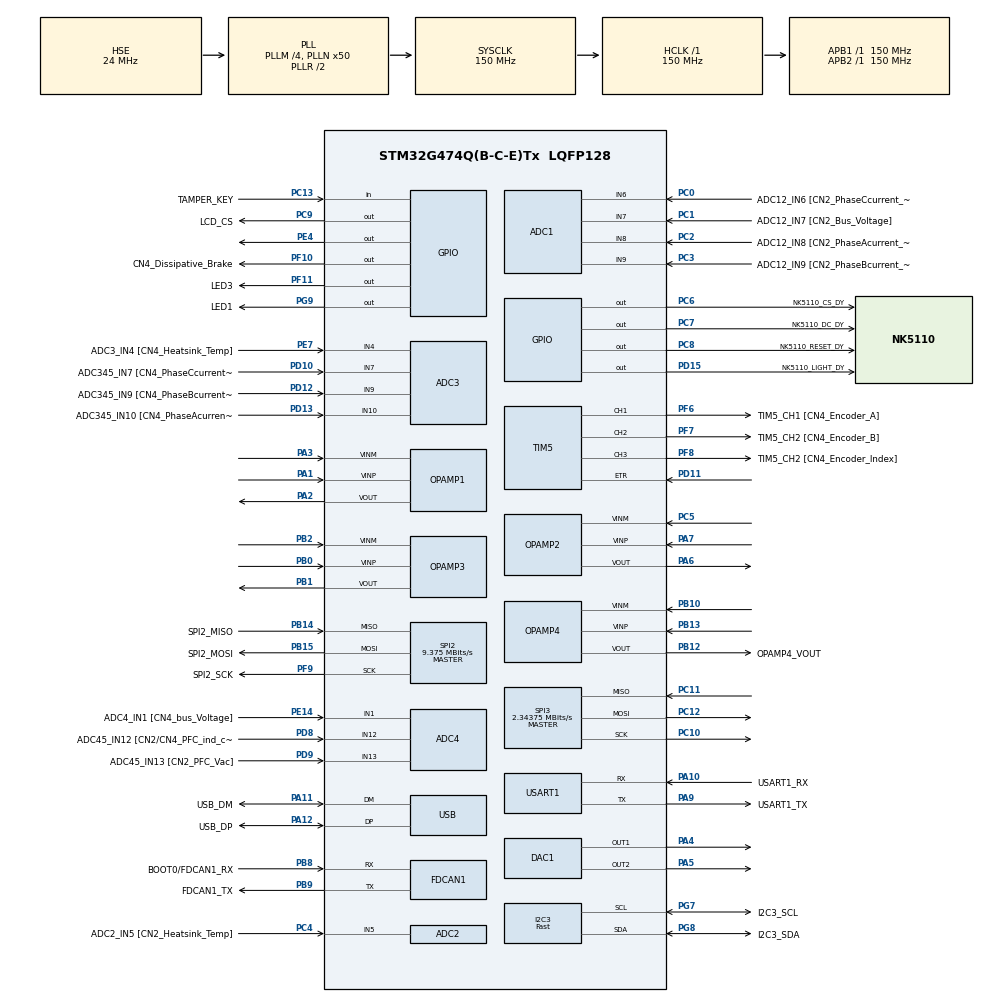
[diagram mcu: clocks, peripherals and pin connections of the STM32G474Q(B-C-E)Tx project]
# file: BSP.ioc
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ADC1.Channel-7\#ChannelRegularConversion=ADC_CHANNEL_7
ADC1.NbrOfConversionFlag=1
ADC1.OffsetNumber-7\#ChannelRegularConversion=ADC_OFFSET_NONE
ADC1.Rank-7\#ChannelRegularConversion=1
ADC1.SamplingTime-7\#ChannelRegularConversion=ADC_SAMPLETIME_2CYCLES_5
ADC1.master=1
ADC2.Channel-0\#ChannelRegularConversion=ADC_CHANNEL_5
ADC2.NbrOfConversionFlag=1
ADC2.OffsetNumber-0\#ChannelRegularConversion=ADC_OFFSET_NONE
ADC2.Rank-0\#ChannelRegularConversion=1
ADC2.SamplingTime-0\#ChannelRegularConversion=ADC_SAMPLETIME_2CYCLES_5
ADC3.Channel-0\#ChannelRegularConversion=ADC_CHANNEL_9
ADC3.NbrOfConversionFlag=1
ADC3.OffsetNumber-0\#ChannelRegularConversion=ADC_OFFSET_NONE
ADC3.Rank-0\#ChannelRegularConversion=1
ADC3.SamplingTime-0\#ChannelRegularConversion=ADC_SAMPLETIME_2CYCLES_5
ADC3.master=1
ADC4.Channel-0\#ChannelRegularConversion=ADC_CHANNEL_12
ADC4.NbrOfConversionFlag=1
ADC4.OffsetNumber-0\#ChannelRegularConversion=ADC_OFFSET_NONE
ADC4.Rank-0\#ChannelRegularConversion=1
ADC4.SamplingTime-0\#ChannelRegularConversion=ADC_SAMPLETIME_2CYCLES_5
DAC1.DAC_Channel-DAC_OUT2=DAC_CHANNEL_2
I2C3.I2C_Speed_Mode=I2C_Fast
I2C3.Speed=400
I2C3.Timing=0x00E063FF
Mcu.Family=STM32G4
Mcu.Name=STM32G474Q(B-C-E)Tx
Mcu.Package=LQFP128
NVIC.PriorityGroup=NVIC_PRIORITYGROUP_4
PA1.Mode=Standalone
PA1.Signal=OPAMP1_VINP
PA10.GPIO_Label=USART1_RX
PA10.Mode=Asynchronous
PA10.Signal=USART1_RX
PA11.GPIO_Label=USB_DM
PA11.Mode=Device
PA11.Signal=USB_DM
PA12.GPIO_Label=USB_DP
PA12.Mode=Device
PA12.Signal=USB_DP
PA13.GPIO_Label=JTMS-SWDIO
PA13.Mode=JTAG_5_pins
PA13.Signal=SYS_JTMS-SWDIO
PA14.GPIO_Label=JTCK-SWCLK
PA14.Mode=JTAG_5_pins
PA14.Signal=SYS_JTCK-SWCLK
PA15.Mode=JTAG_5_pins
PA15.Signal=SYS_JTDI
PA2.Mode=Standalone
PA2.Signal=OPAMP1_VOUT
PA3.Mode=Standalone
PA3.Signal=OPAMP1_VINM
PA4.Signal=COMP_DAC11_group
PA5.Signal=COMP_DAC12_group
PA6.Mode=Standalone
PA6.Signal=OPAMP2_VOUT
PA7.Mode=Standalone
PA7.Signal=OPAMP2_VINP
PA9.GPIO_Label=USART1_TX
PA9.Mode=Asynchronous
PA9.Signal=USART1_TX
PB0.Mode=Standalone
PB0.Signal=OPAMP3_VINP
PB1.Mode=Standalone
PB1.Signal=OPAMP3_VOUT
PB10.Mode=Standalone
PB10.Signal=OPAMP4_VINM
PB12.GPIO_Label=OPAMP4_VOUT
PB12.Mode=Standalone
PB12.Signal=OPAMP4_VOUT
PB13.Mode=Standalone
PB13.Signal=OPAMP4_VINP
PB14.GPIO_Label=SPI2_MISO
PB14.Mode=Full_Duplex_Master
PB14.Signal=SPI2_MISO
PB15.GPIO_Label=SPI2_MOSI
PB15.Mode=Full_Duplex_Master
PB15.Signal=SPI2_MOSI
PB2.Mode=Standalone
PB2.Signal=OPAMP3_VINM
PB3.GPIO_Label=JTDO-SWO
PB3.Mode=JTAG_5_pins
PB3.Signal=SYS_JTDO-SWO
PB4.GPIO_Label=JTRST/PD_CC2
PB4.Mode=JTAG_5_pins
PB4.Signal=SYS_JTRST
PB8-BOOT0.GPIO_Label=BOOT0/FDCAN1_RX
PB8-BOOT0.Mode=FDCAN_Activate
PB8-BOOT0.Signal=FDCAN1_RX
PB9.GPIO_Label=FDCAN1_TX
PB9.Mode=FDCAN_Activate
PB9.Signal=FDCAN1_TX
PC0.GPIO_Label=ADC12_IN6 [CN2_PhaseCcurrent_plus]
PC0.Signal=SharedAnalog_PC0
PC1.GPIO_Label=ADC12_IN7 [CN2_Bus_Voltage]
PC1.Signal=SharedAnalog_PC1
PC10.Mode=Full_Duplex_Master
PC10.Signal=SPI3_SCK
PC11.Mode=Full_Duplex_Master
PC11.Signal=SPI3_MISO
PC12.Mode=Full_Duplex_Master
PC12.Signal=SPI3_MOSI
PC13.GPIO_Label=TAMPER_KEY
PC13.Signal=GPIO_Input
PC14-OSC32_IN.GPIO_Label=PC14-OSC32_IN
PC14-OSC32_IN.Mode=LSE-External-Oscillator
PC14-OSC32_IN.Signal=RCC_OSC32_IN
PC15-OSC32_OUT.GPIO_Label=PC15-OSC32_OUT
PC15-OSC32_OUT.Mode=LSE-External-Oscillator
PC15-OSC32_OUT.Signal=RCC_OSC32_OUT
PC2.GPIO_Label=ADC12_IN8 [CN2_PhaseAcurrent_plus]
PC2.Signal=SharedAnalog_PC2
PC3.GPIO_Label=ADC12_IN9 [CN2_PhaseBcurrent_plus]
PC3.Signal=SharedAnalog_PC3
PC4.GPIO_Label=ADC2_IN5 [CN2_Heatsink_Temp]
PC4.Mode=IN5-Single-Ended
PC4.Signal=ADC2_IN5
PC5.Mode=Standalone
PC5.Signal=OPAMP2_VINM
PC6.GPIO_Label=NK5110_CS_DY
PC6.Signal=GPIO_Output
PC7.GPIO_Label=NK5110_DC_DY
PC7.Signal=GPIO_Output
PC8.GPIO_Label=NK5110_RESET_DY
PC8.Signal=GPIO_Output
PC9.GPIO_Label=LCD_CS
PC9.Signal=GPIO_Output
PD10.GPIO_Label=ADC345_IN7 [CN4_PhaseCcurrent_plus]
PD10.Signal=SharedAnalog_PD10
PD11.Signal=S_TIM5_ETR
PD12.GPIO_Label=ADC345_IN9 [CN4_PhaseBcurrent_plus]
PD12.Signal=SharedAnalog_PD12
PD13.GPIO_Label=ADC345_IN10 [CN4_PhaseAcurrent_plus]
PD13.Signal=SharedAnalog_PD13
PD15.GPIO_Label=NK5110_LIGHT_DY
PD15.Signal=GPIO_Output
PD8.GPIO_Label=ADC45_IN12 [CN2/CN4_PFC_ind_current]
PD8.Signal=SharedAnalog_PD8
PD9.GPIO_Label=ADC45_IN13 [CN2_PFC_Vac]
PD9.Signal=SharedAnalog_PD9
PE14.GPIO_Label=ADC4_IN1 [CN4_bus_Voltage]
PE14.Mode=IN1-Single-Ended
PE14.Signal=ADC4_IN1
PE4.Signal=GPIO_Output
PE7.GPIO_Label=ADC3_IN4 [CN4_Heatsink_Temp]
PE7.Mode=IN4-Single-Ended
PE7.Signal=ADC3_IN4
PF0-OSC_IN.GPIO_Label=PF0-OSC_IN
PF0-OSC_IN.Mode=HSE-External-Oscillator
PF0-OSC_IN.Signal=RCC_OSC_IN
PF1-OSC_OUT.GPIO_Label=PF1-OSC_OUT
PF1-OSC_OUT.Mode=HSE-External-Oscillator
PF1-OSC_OUT.Signal=RCC_OSC_OUT
PF10.GPIO_Label=CN4_Dissipative_Brake
PF10.Signal=GPIO_Output
PF11.GPIO_Label=LED3
PF11.Signal=GPIO_Output
PF6.GPIO_Label=TIM5_CH1 [CN4_Encoder_A]
PF6.Signal=S_TIM5_CH1
PF7.GPIO_Label=TIM5_CH2 [CN4_Encoder_B]
PF7.Signal=S_TIM5_CH2
PF8.GPIO_Label=TIM5_CH2 [CN4_Encoder_Index]
PF8.Signal=S_TIM5_CH3
PF9.GPIO_Label=SPI2_SCK
PF9.Mode=Full_Duplex_Master
PF9.Signal=SPI2_SCK
PG7.GPIO_Label=I2C3_SCL
PG7.GPIO_Pu=GPIO_PULLUP
PG7.Mode=I2C
PG7.Signal=I2C3_SCL
PG8.GPIO_Label=I2C3_SDA
PG8.GPIO_Pu=GPIO_PULLUP
PG8.Mode=I2C
PG8.Signal=I2C3_SDA
PG9.GPIO_Label=LED1
PG9.Signal=GPIO_Output
ProjectManager.HeapSize=0x200
ProjectManager.StackSize=0x400
ProjectManager.TargetToolchain=STM32CubeIDE
RCC.ADC12Freq_Value=150000000
RCC.ADC345Freq_Value=150000000
RCC.AHBFreq_Value=150000000
RCC.APB1Freq_Value=150000000
RCC.APB1TimFreq_Value=150000000
RCC.APB2Freq_Value=150000000
RCC.APB2TimFreq_Value=150000000
RCC.CK48CLockSelection=RCC_USBCLKSOURCE_HSI48
RCC.CortexFreq_Value=150000000
RCC.EXTERNAL_CLOCK_VALUE=12288000
RCC.HCLKFreq_Value=150000000
RCC.HSE_VALUE=24000000
RCC.HSI48_VALUE=48000000
RCC.HSI_VALUE=16000000
RCC.PLLM=RCC_PLLM_DIV4
RCC.PLLN=50
RCC.PLLSourceVirtual=RCC_PLLSOURCE_HSE
RCC.SYSCLKFreq_VALUE=150000000
RCC.SYSCLKSource=RCC_SYSCLKSOURCE_PLLCLK
RCC.USBFreq_Value=48000000
RCC.VCOOutputFreq_Value=300000000
SH.COMP_DAC11_group.0=DAC1_OUT1,DAC_OUT1
SH.COMP_DAC12_group.0=DAC1_OUT2,DAC_OUT2
SH.S_TIM5_CH1.0=TIM5_CH1,Output Compare1 CH1
SH.S_TIM5_CH2.0=TIM5_CH2,Output Compare2 CH2
SH.S_TIM5_CH3.0=TIM5_CH3,Output Compare3 CH3
SH.S_TIM5_ETR.0=TIM5_ETR,ETR-as-clearing-source
SH.SharedAnalog_PC0.0=ADC2_IN6
SH.SharedAnalog_PC0.1=ADC1_IN6,IN6-Single-Ended
SH.SharedAnalog_PC1.0=ADC2_IN7
SH.SharedAnalog_PC1.1=ADC1_IN7,IN7-Single-Ended
SH.SharedAnalog_PC2.0=ADC2_IN8
SH.SharedAnalog_PC2.1=ADC1_IN8,IN8-Single-Ended
SH.SharedAnalog_PC3.0=ADC2_IN9
SH.SharedAnalog_PC3.1=ADC1_IN9,IN9-Single-Ended
SH.SharedAnalog_PD10.0=ADC4_IN7
SH.SharedAnalog_PD10.1=ADC5_IN7
SH.SharedAnalog_PD10.2=ADC3_IN7,IN7-Single-Ended
SH.SharedAnalog_PD12.0=ADC4_IN9
SH.SharedAnalog_PD12.1=ADC5_IN9
SH.SharedAnalog_PD12.2=ADC3_IN9,IN9-Single-Ended
SH.SharedAnalog_PD13.0=ADC4_IN10
SH.SharedAnalog_PD13.1=ADC5_IN10
SH.SharedAnalog_PD13.2=ADC3_IN10,IN10-Single-Ended
SH.SharedAnalog_PD8.0=ADC5_IN12
SH.SharedAnalog_PD8.1=ADC4_IN12,IN12-Single-Ended
SH.SharedAnalog_PD9.0=ADC5_IN13
SH.SharedAnalog_PD9.1=ADC4_IN13,IN13-Single-Ended
SPI2.BaudRatePrescaler=SPI_BAUDRATEPRESCALER_16
SPI2.CalculateBaudRate=9.375 MBits/s
SPI2.Direction=SPI_DIRECTION_2LINES
SPI2.Mode=SPI_MODE_MASTER
SPI2.VirtualType=VM_MASTER
SPI3.BaudRatePrescaler=SPI_BAUDRATEPRESCALER_64
SPI3.CalculateBaudRate=2.34375 MBits/s
SPI3.DataSize=SPI_DATASIZE_8BIT
SPI3.Direction=SPI_DIRECTION_2LINES
SPI3.Mode=SPI_MODE_MASTER
SPI3.VirtualType=VM_MASTER
TIM5.Channel-Output\ Compare1\ CH1=TIM_CHANNEL_1
TIM5.Channel-Output\ Compare2\ CH2=TIM_CHANNEL_2
TIM5.Channel-Output\ Compare3\ CH3=TIM_CHANNEL_3
USART1.VirtualMode-Asynchronous=VM_ASYNC
USART1.WordLength=WORDLENGTH_7B
VP_HRTIM1_VS_hrtimMasterTimerNoOutput.Mode=MasterTimer
VP_SYS_VS_DBSignals.Mode=DisableDeadBatterySignals
board=STM32G474E-EVAL1

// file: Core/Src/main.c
/* USER CODE BEGIN Header */
/**
  ******************************************************************************
  * @file           : main.c
  * @brief          : Main program body
  ******************************************************************************
  * @attention
  *
  * <h2><center>&copy; Copyright (c) 2021 STMicroelectronics.
  * All rights reserved.</center></h2>
  *
  * This software component is licensed by ST under BSD 3-Clause license,
  * the "License"; You may not use this file except in compliance with the
  * License. You may obtain a copy of the License at:
  *                        opensource.org/licenses/BSD-3-Clause
  *
  ******************************************************************************
  */
  /*Proyecto de libreria de controladores graficos pequeños con Frame Buffer    */

/* USER CODE END Header */
#include "main.h"

/* USER CODE BEGIN Includes */
//#include "display.h"

#include <stdio.h>
#include "..\Drivers\Common\Inc\Display.h"
#include "ssd1306.h"

extern int PruebaDY(void);
extern void refesh_count(void);

/* USER CODE END Includes */

ADC_HandleTypeDef hadc1;
ADC_HandleTypeDef hadc2;
ADC_HandleTypeDef hadc3;
ADC_HandleTypeDef hadc4;

DAC_HandleTypeDef hdac1;

FDCAN_HandleTypeDef hfdcan1;

HRTIM_HandleTypeDef hhrtim1;

I2C_HandleTypeDef hi2c3;

OPAMP_HandleTypeDef hopamp1;
OPAMP_HandleTypeDef hopamp2;
OPAMP_HandleTypeDef hopamp3;
OPAMP_HandleTypeDef hopamp4;

SPI_HandleTypeDef hspi2;
SPI_HandleTypeDef hspi3;

TIM_HandleTypeDef htim5;

UART_HandleTypeDef huart1;

PCD_HandleTypeDef hpcd_USB_FS;

void SystemClock_Config(void);
static void MX_GPIO_Init(void);
static void MX_ADC1_Init(void);
static void MX_ADC2_Init(void);
static void MX_ADC3_Init(void);
static void MX_ADC4_Init(void);
static void MX_DAC1_Init(void);
static void MX_FDCAN1_Init(void);
static void MX_HRTIM1_Init(void);
static void MX_I2C3_Init(void);
static void MX_OPAMP1_Init(void);
static void MX_OPAMP2_Init(void);
static void MX_OPAMP3_Init(void);
static void MX_OPAMP4_Init(void);
static void MX_SPI2_Init(void);
static void MX_TIM5_Init(void);
static void MX_USART1_UART_Init(void);
static void MX_USB_PCD_Init(void);
static void MX_SPI3_Init(void);

int main(void)
{
  /* USER CODE BEGIN 1 */
	//int i;
	DY_Ift_t DY1;
	DY_Ift_t DY2;
  /* USER CODE END 1 */

  /* MCU Configuration--------------------------------------------------------*/

  /* Reset of all peripherals, Initializes the Flash interface and the Systick. */
  HAL_Init();

  /* Configure the system clock */
  SystemClock_Config();

  /* Initialize all configured peripherals */
  MX_GPIO_Init();
  MX_ADC1_Init();
  MX_ADC2_Init();
  MX_ADC3_Init();
  MX_ADC4_Init();
  MX_DAC1_Init();
  MX_FDCAN1_Init();
  MX_HRTIM1_Init();
  MX_I2C3_Init();
  MX_OPAMP1_Init();
  MX_OPAMP2_Init();
  MX_OPAMP3_Init();
  MX_OPAMP4_Init();
  MX_SPI2_Init();
  MX_TIM5_Init();
  MX_USART1_UART_Init();
  MX_USB_PCD_Init();
  MX_SPI3_Init();
  /* USER CODE BEGIN 2 */
  InitFonts();
  DY1=sh1106_itf;
  DY2=nk5110_itf;
  DY1.init();
  DY1.clear_screen();
  DY2.init();
  DY2.clear_screen();

  __enable_irq();

  DY1.Refresh_all();
  DY2.Refresh_all();

  PruebaDY();
  /* USER CODE END 2 */

  /* Infinite loop */
  while (1)
  {

    /* USER CODE BEGIN 3 */
	  refesh_count();
	  HAL_Delay(10);
  }
  /* USER CODE END 3 */
}

void SystemClock_Config(void)
{
  RCC_OscInitTypeDef RCC_OscInitStruct = {0};
  RCC_ClkInitTypeDef RCC_ClkInitStruct = {0};

  /** Configure the main internal regulator output voltage
  */
  HAL_PWREx_ControlVoltageScaling(PWR_REGULATOR_VOLTAGE_SCALE1);
  /** Initializes the RCC Oscillators according to the specified parameters
  * in the RCC_OscInitTypeDef structure.
  */
  RCC_OscInitStruct.OscillatorType = RCC_OSCILLATORTYPE_HSI48|RCC_OSCILLATORTYPE_HSE;
  RCC_OscInitStruct.HSEState = RCC_HSE_ON;
  RCC_OscInitStruct.HSI48State = RCC_HSI48_ON;
  RCC_OscInitStruct.PLL.PLLState = RCC_PLL_ON;
  RCC_OscInitStruct.PLL.PLLSource = RCC_PLLSOURCE_HSE;
  RCC_OscInitStruct.PLL.PLLM = RCC_PLLM_DIV4;
  RCC_OscInitStruct.PLL.PLLN = 50;
  RCC_OscInitStruct.PLL.PLLP = RCC_PLLP_DIV2;
  RCC_OscInitStruct.PLL.PLLQ = RCC_PLLQ_DIV2;
  RCC_OscInitStruct.PLL.PLLR = RCC_PLLR_DIV2;
  if (HAL_RCC_OscConfig(&RCC_OscInitStruct) != HAL_OK)
  {
    Error_Handler();
  }
  /** Initializes the CPU, AHB and APB buses clocks
  */
  RCC_ClkInitStruct.ClockType = RCC_CLOCKTYPE_HCLK|RCC_CLOCKTYPE_SYSCLK
                              |RCC_CLOCKTYPE_PCLK1|RCC_CLOCKTYPE_PCLK2;
  RCC_ClkInitStruct.SYSCLKSource = RCC_SYSCLKSOURCE_PLLCLK;
  RCC_ClkInitStruct.AHBCLKDivider = RCC_SYSCLK_DIV1;
  RCC_ClkInitStruct.APB1CLKDivider = RCC_HCLK_DIV1;
  RCC_ClkInitStruct.APB2CLKDivider = RCC_HCLK_DIV1;

  if (HAL_RCC_ClockConfig(&RCC_ClkInitStruct, FLASH_LATENCY_4) != HAL_OK)
  {
    Error_Handler();
  }
}

static void MX_ADC1_Init(void)
{

  ADC_MultiModeTypeDef multimode = {0};
  ADC_ChannelConfTypeDef sConfig = {0};

  /** Common config
  */
  hadc1.Instance = ADC1;
  hadc1.Init.ClockPrescaler = ADC_CLOCK_SYNC_PCLK_DIV4;
  hadc1.Init.Resolution = ADC_RESOLUTION_12B;
  hadc1.Init.DataAlign = ADC_DATAALIGN_RIGHT;
  hadc1.Init.GainCompensation = 0;
  hadc1.Init.ScanConvMode = ADC_SCAN_DISABLE;
  hadc1.Init.EOCSelection = ADC_EOC_SINGLE_CONV;
  hadc1.Init.LowPowerAutoWait = DISABLE;
  hadc1.Init.ContinuousConvMode = DISABLE;
  hadc1.Init.NbrOfConversion = 1;
  hadc1.Init.DiscontinuousConvMode = DISABLE;
  hadc1.Init.ExternalTrigConv = ADC_SOFTWARE_START;
  hadc1.Init.ExternalTrigConvEdge = ADC_EXTERNALTRIGCONVEDGE_NONE;
  hadc1.Init.DMAContinuousRequests = DISABLE;
  hadc1.Init.Overrun = ADC_OVR_DATA_PRESERVED;
  hadc1.Init.OversamplingMode = DISABLE;
  if (HAL_ADC_Init(&hadc1) != HAL_OK)
  {
    Error_Handler();
  }
  /** Configure the ADC multi-mode
  */
  multimode.Mode = ADC_MODE_INDEPENDENT;
  if (HAL_ADCEx_MultiModeConfigChannel(&hadc1, &multimode) != HAL_OK)
  {
    Error_Handler();
  }
  /** Configure Regular Channel
  */
  sConfig.Channel = ADC_CHANNEL_7;
  sConfig.Rank = ADC_REGULAR_RANK_1;
  sConfig.SamplingTime = ADC_SAMPLETIME_2CYCLES_5;
  sConfig.SingleDiff = ADC_SINGLE_ENDED;
  sConfig.OffsetNumber = ADC_OFFSET_NONE;
  sConfig.Offset = 0;
  if (HAL_ADC_ConfigChannel(&hadc1, &sConfig) != HAL_OK)
  {
    Error_Handler();
  }

}

static void MX_ADC2_Init(void)
{

  ADC_ChannelConfTypeDef sConfig = {0};

  /** Common config
  */
  hadc2.Instance = ADC2;
  hadc2.Init.ClockPrescaler = ADC_CLOCK_SYNC_PCLK_DIV4;
  hadc2.Init.Resolution = ADC_RESOLUTION_12B;
  hadc2.Init.DataAlign = ADC_DATAALIGN_RIGHT;
  hadc2.Init.GainCompensation = 0;
  hadc2.Init.ScanConvMode = ADC_SCAN_DISABLE;
  hadc2.Init.EOCSelection = ADC_EOC_SINGLE_CONV;
  hadc2.Init.LowPowerAutoWait = DISABLE;
  hadc2.Init.ContinuousConvMode = DISABLE;
  hadc2.Init.NbrOfConversion = 1;
  hadc2.Init.DiscontinuousConvMode = DISABLE;
  hadc2.Init.ExternalTrigConv = ADC_SOFTWARE_START;
  hadc2.Init.ExternalTrigConvEdge = ADC_EXTERNALTRIGCONVEDGE_NONE;
  hadc2.Init.DMAContinuousRequests = DISABLE;
  hadc2.Init.Overrun = ADC_OVR_DATA_PRESERVED;
  hadc2.Init.OversamplingMode = DISABLE;
  if (HAL_ADC_Init(&hadc2) != HAL_OK)
  {
    Error_Handler();
  }
  /** Configure Regular Channel
  */
  sConfig.Channel = ADC_CHANNEL_5;
  sConfig.Rank = ADC_REGULAR_RANK_1;
  sConfig.SamplingTime = ADC_SAMPLETIME_2CYCLES_5;
  sConfig.SingleDiff = ADC_SINGLE_ENDED;
  sConfig.OffsetNumber = ADC_OFFSET_NONE;
  sConfig.Offset = 0;
  if (HAL_ADC_ConfigChannel(&hadc2, &sConfig) != HAL_OK)
  {
    Error_Handler();
  }

}

static void MX_ADC3_Init(void)
{

  ADC_MultiModeTypeDef multimode = {0};
  ADC_ChannelConfTypeDef sConfig = {0};

  /** Common config
  */
  hadc3.Instance = ADC3;
  hadc3.Init.ClockPrescaler = ADC_CLOCK_SYNC_PCLK_DIV4;
  hadc3.Init.Resolution = ADC_RESOLUTION_12B;
  hadc3.Init.DataAlign = ADC_DATAALIGN_RIGHT;
  hadc3.Init.GainCompensation = 0;
  hadc3.Init.ScanConvMode = ADC_SCAN_DISABLE;
  hadc3.Init.EOCSelection = ADC_EOC_SINGLE_CONV;
  hadc3.Init.LowPowerAutoWait = DISABLE;
  hadc3.Init.ContinuousConvMode = DISABLE;
  hadc3.Init.NbrOfConversion = 1;
  hadc3.Init.DiscontinuousConvMode = DISABLE;
  hadc3.Init.ExternalTrigConv = ADC_SOFTWARE_START;
  hadc3.Init.ExternalTrigConvEdge = ADC_EXTERNALTRIGCONVEDGE_NONE;
  hadc3.Init.DMAContinuousRequests = DISABLE;
  hadc3.Init.Overrun = ADC_OVR_DATA_PRESERVED;
  hadc3.Init.OversamplingMode = DISABLE;
  if (HAL_ADC_Init(&hadc3) != HAL_OK)
  {
    Error_Handler();
  }
  /** Configure the ADC multi-mode
  */
  multimode.Mode = ADC_MODE_INDEPENDENT;
  if (HAL_ADCEx_MultiModeConfigChannel(&hadc3, &multimode) != HAL_OK)
  {
    Error_Handler();
  }
  /** Configure Regular Channel
  */
  sConfig.Channel = ADC_CHANNEL_9;
  sConfig.Rank = ADC_REGULAR_RANK_1;
  sConfig.SamplingTime = ADC_SAMPLETIME_2CYCLES_5;
  sConfig.SingleDiff = ADC_SINGLE_ENDED;
  sConfig.OffsetNumber = ADC_OFFSET_NONE;
  sConfig.Offset = 0;
  if (HAL_ADC_ConfigChannel(&hadc3, &sConfig) != HAL_OK)
  {
    Error_Handler();
  }

}

static void MX_ADC4_Init(void)
{

  ADC_ChannelConfTypeDef sConfig = {0};

  /** Common config
  */
  hadc4.Instance = ADC4;
  hadc4.Init.ClockPrescaler = ADC_CLOCK_SYNC_PCLK_DIV4;
  hadc4.Init.Resolution = ADC_RESOLUTION_12B;
  hadc4.Init.DataAlign = ADC_DATAALIGN_RIGHT;
  hadc4.Init.GainCompensation = 0;
  hadc4.Init.ScanConvMode = ADC_SCAN_DISABLE;
  hadc4.Init.EOCSelection = ADC_EOC_SINGLE_CONV;
  hadc4.Init.LowPowerAutoWait = DISABLE;
  hadc4.Init.ContinuousConvMode = DISABLE;
  hadc4.Init.NbrOfConversion = 1;
  hadc4.Init.DiscontinuousConvMode = DISABLE;
  hadc4.Init.ExternalTrigConv = ADC_SOFTWARE_START;
  hadc4.Init.ExternalTrigConvEdge = ADC_EXTERNALTRIGCONVEDGE_NONE;
  hadc4.Init.DMAContinuousRequests = DISABLE;
  hadc4.Init.Overrun = ADC_OVR_DATA_PRESERVED;
  hadc4.Init.OversamplingMode = DISABLE;
  if (HAL_ADC_Init(&hadc4) != HAL_OK)
  {
    Error_Handler();
  }
  /** Configure Regular Channel
  */
  sConfig.Channel = ADC_CHANNEL_12;
  sConfig.Rank = ADC_REGULAR_RANK_1;
  sConfig.SamplingTime = ADC_SAMPLETIME_2CYCLES_5;
  sConfig.SingleDiff = ADC_SINGLE_ENDED;
  sConfig.OffsetNumber = ADC_OFFSET_NONE;
  sConfig.Offset = 0;
  if (HAL_ADC_ConfigChannel(&hadc4, &sConfig) != HAL_OK)
  {
    Error_Handler();
  }

}

static void MX_DAC1_Init(void)
{

  DAC_ChannelConfTypeDef sConfig = {0};

  /** DAC Initialization
  */
  hdac1.Instance = DAC1;
  if (HAL_DAC_Init(&hdac1) != HAL_OK)
  {
    Error_Handler();
  }
  /** DAC channel OUT1 config
  */
  sConfig.DAC_HighFrequency = DAC_HIGH_FREQUENCY_INTERFACE_MODE_AUTOMATIC;
  sConfig.DAC_DMADoubleDataMode = DISABLE;
  sConfig.DAC_SignedFormat = DISABLE;
  sConfig.DAC_SampleAndHold = DAC_SAMPLEANDHOLD_DISABLE;
  sConfig.DAC_Trigger = DAC_TRIGGER_NONE;
  sConfig.DAC_Trigger2 = DAC_TRIGGER_NONE;
  sConfig.DAC_OutputBuffer = DAC_OUTPUTBUFFER_ENABLE;
  sConfig.DAC_ConnectOnChipPeripheral = DAC_CHIPCONNECT_EXTERNAL;
  sConfig.DAC_UserTrimming = DAC_TRIMMING_FACTORY;
  if (HAL_DAC_ConfigChannel(&hdac1, &sConfig, DAC_CHANNEL_1) != HAL_OK)
  {
    Error_Handler();
  }
  /** DAC channel OUT2 config
  */
  if (HAL_DAC_ConfigChannel(&hdac1, &sConfig, DAC_CHANNEL_2) != HAL_OK)
  {
    Error_Handler();
  }

}

static void MX_FDCAN1_Init(void)
{

  hfdcan1.Instance = FDCAN1;
  hfdcan1.Init.ClockDivider = FDCAN_CLOCK_DIV1;
  hfdcan1.Init.FrameFormat = FDCAN_FRAME_CLASSIC;
  hfdcan1.Init.Mode = FDCAN_MODE_NORMAL;
  hfdcan1.Init.AutoRetransmission = DISABLE;
  hfdcan1.Init.TransmitPause = DISABLE;
  hfdcan1.Init.ProtocolException = DISABLE;
  hfdcan1.Init.NominalPrescaler = 1;
  hfdcan1.Init.NominalSyncJumpWidth = 1;
  hfdcan1.Init.NominalTimeSeg1 = 2;
  hfdcan1.Init.NominalTimeSeg2 = 2;
  hfdcan1.Init.DataPrescaler = 1;
  hfdcan1.Init.DataSyncJumpWidth = 1;
  hfdcan1.Init.DataTimeSeg1 = 1;
  hfdcan1.Init.DataTimeSeg2 = 1;
  hfdcan1.Init.StdFiltersNbr = 0;
  hfdcan1.Init.ExtFiltersNbr = 0;
  hfdcan1.Init.TxFifoQueueMode = FDCAN_TX_FIFO_OPERATION;
  if (HAL_FDCAN_Init(&hfdcan1) != HAL_OK)
  {
    Error_Handler();
  }

}

static void MX_HRTIM1_Init(void)
{

  HRTIM_TimeBaseCfgTypeDef pTimeBaseCfg = {0};
  HRTIM_TimerCfgTypeDef pTimerCfg = {0};

  hhrtim1.Instance = HRTIM1;
  hhrtim1.Init.HRTIMInterruptResquests = HRTIM_IT_NONE;
  hhrtim1.Init.SyncOptions = HRTIM_SYNCOPTION_NONE;
  if (HAL_HRTIM_Init(&hhrtim1) != HAL_OK)
  {
    Error_Handler();
  }
  if (HAL_HRTIM_DLLCalibrationStart(&hhrtim1, HRTIM_CALIBRATIONRATE_3) != HAL_OK)
  {
    Error_Handler();
  }
  if (HAL_HRTIM_PollForDLLCalibration(&hhrtim1, 10) != HAL_OK)
  {
    Error_Handler();
  }
  pTimeBaseCfg.Period = 0xFFDF;
  pTimeBaseCfg.RepetitionCounter = 0x00;
  pTimeBaseCfg.PrescalerRatio = HRTIM_PRESCALERRATIO_MUL32;
  pTimeBaseCfg.Mode = HRTIM_MODE_CONTINUOUS;
  if (HAL_HRTIM_TimeBaseConfig(&hhrtim1, HRTIM_TIMERINDEX_MASTER, &pTimeBaseCfg) != HAL_OK)
  {
    Error_Handler();
  }
  pTimerCfg.InterruptRequests = HRTIM_MASTER_IT_NONE;
  pTimerCfg.DMARequests = HRTIM_MASTER_DMA_NONE;
  pTimerCfg.DMASrcAddress = 0x0000;
  pTimerCfg.DMADstAddress = 0x0000;
  pTimerCfg.DMASize = 0x1;
  pTimerCfg.HalfModeEnable = HRTIM_HALFMODE_DISABLED;
  pTimerCfg.InterleavedMode = HRTIM_INTERLEAVED_MODE_DISABLED;
  pTimerCfg.StartOnSync = HRTIM_SYNCSTART_DISABLED;
  pTimerCfg.ResetOnSync = HRTIM_SYNCRESET_DISABLED;
  pTimerCfg.DACSynchro = HRTIM_DACSYNC_NONE;
  pTimerCfg.PreloadEnable = HRTIM_PRELOAD_DISABLED;
  pTimerCfg.UpdateGating = HRTIM_UPDATEGATING_INDEPENDENT;
  pTimerCfg.BurstMode = HRTIM_TIMERBURSTMODE_MAINTAINCLOCK;
  pTimerCfg.RepetitionUpdate = HRTIM_UPDATEONREPETITION_DISABLED;
  pTimerCfg.ReSyncUpdate = HRTIM_TIMERESYNC_UPDATE_UNCONDITIONAL;

  if (HAL_HRTIM_WaveformTimerConfig(&hhrtim1, HRTIM_TIMERINDEX_MASTER, &pTimerCfg) != HAL_OK)
  {
    Error_Handler();
  }

}

static void MX_I2C3_Init(void)
{

  hi2c3.Instance = I2C3;
  hi2c3.Init.Timing = 0x00E063FF;
  hi2c3.Init.OwnAddress1 = 0;
  hi2c3.Init.AddressingMode = I2C_ADDRESSINGMODE_7BIT;
  hi2c3.Init.DualAddressMode = I2C_DUALADDRESS_DISABLE;
  hi2c3.Init.OwnAddress2 = 0;
  hi2c3.Init.OwnAddress2Masks = I2C_OA2_NOMASK;
  hi2c3.Init.GeneralCallMode = I2C_GENERALCALL_DISABLE;
  hi2c3.Init.NoStretchMode = I2C_NOSTRETCH_DISABLE;
  if (HAL_I2C_Init(&hi2c3) != HAL_OK)
  {
    Error_Handler();
  }
  /** Configure Analogue filter
  */
  if (HAL_I2CEx_ConfigAnalogFilter(&hi2c3, I2C_ANALOGFILTER_ENABLE) != HAL_OK)
  {
    Error_Handler();
  }
  /** Configure Digital filter
  */
  if (HAL_I2CEx_ConfigDigitalFilter(&hi2c3, 0) != HAL_OK)
  {
    Error_Handler();
  }

}

static void MX_OPAMP1_Init(void)
{

  hopamp1.Instance = OPAMP1;
  hopamp1.Init.PowerMode = OPAMP_POWERMODE_NORMALSPEED;
  hopamp1.Init.Mode = OPAMP_STANDALONE_MODE;
  hopamp1.Init.InvertingInput = OPAMP_INVERTINGINPUT_IO0;
  hopamp1.Init.NonInvertingInput = OPAMP_NONINVERTINGINPUT_IO0;
  hopamp1.Init.InternalOutput = DISABLE;
  hopamp1.Init.TimerControlledMuxmode = OPAMP_TIMERCONTROLLEDMUXMODE_DISABLE;
  hopamp1.Init.UserTrimming = OPAMP_TRIMMING_FACTORY;
  if (HAL_OPAMP_Init(&hopamp1) != HAL_OK)
  {
    Error_Handler();
  }

}

static void MX_OPAMP2_Init(void)
{

  hopamp2.Instance = OPAMP2;
  hopamp2.Init.PowerMode = OPAMP_POWERMODE_NORMALSPEED;
  hopamp2.Init.Mode = OPAMP_STANDALONE_MODE;
  hopamp2.Init.InvertingInput = OPAMP_INVERTINGINPUT_IO1;
  hopamp2.Init.NonInvertingInput = OPAMP_NONINVERTINGINPUT_IO0;
  hopamp2.Init.InternalOutput = DISABLE;
  hopamp2.Init.TimerControlledMuxmode = OPAMP_TIMERCONTROLLEDMUXMODE_DISABLE;
  hopamp2.Init.UserTrimming = OPAMP_TRIMMING_FACTORY;
  if (HAL_OPAMP_Init(&hopamp2) != HAL_OK)
  {
    Error_Handler();
  }

}

static void MX_OPAMP3_Init(void)
{

  hopamp3.Instance = OPAMP3;
  hopamp3.Init.PowerMode = OPAMP_POWERMODE_NORMALSPEED;
  hopamp3.Init.Mode = OPAMP_STANDALONE_MODE;
  hopamp3.Init.InvertingInput = OPAMP_INVERTINGINPUT_IO0;
  hopamp3.Init.NonInvertingInput = OPAMP_NONINVERTINGINPUT_IO0;
  hopamp3.Init.InternalOutput = DISABLE;
  hopamp3.Init.TimerControlledMuxmode = OPAMP_TIMERCONTROLLEDMUXMODE_DISABLE;
  hopamp3.Init.UserTrimming = OPAMP_TRIMMING_FACTORY;
  if (HAL_OPAMP_Init(&hopamp3) != HAL_OK)
  {
    Error_Handler();
  }

}

static void MX_OPAMP4_Init(void)
{

  hopamp4.Instance = OPAMP4;
  hopamp4.Init.PowerMode = OPAMP_POWERMODE_NORMALSPEED;
  hopamp4.Init.Mode = OPAMP_STANDALONE_MODE;
  hopamp4.Init.InvertingInput = OPAMP_INVERTINGINPUT_IO0;
  hopamp4.Init.NonInvertingInput = OPAMP_NONINVERTINGINPUT_IO0;
  hopamp4.Init.InternalOutput = DISABLE;
  hopamp4.Init.TimerControlledMuxmode = OPAMP_TIMERCONTROLLEDMUXMODE_DISABLE;
  hopamp4.Init.UserTrimming = OPAMP_TRIMMING_FACTORY;
  if (HAL_OPAMP_Init(&hopamp4) != HAL_OK)
  {
    Error_Handler();
  }

}

static void MX_SPI2_Init(void)
{

  /* SPI2 parameter configuration*/
  hspi2.Instance = SPI2;
  hspi2.Init.Mode = SPI_MODE_MASTER;
  hspi2.Init.Direction = SPI_DIRECTION_2LINES;
  hspi2.Init.DataSize = SPI_DATASIZE_4BIT;
  hspi2.Init.CLKPolarity = SPI_POLARITY_LOW;
  hspi2.Init.CLKPhase = SPI_PHASE_1EDGE;
  hspi2.Init.NSS = SPI_NSS_SOFT;
  hspi2.Init.BaudRatePrescaler = SPI_BAUDRATEPRESCALER_16;
  hspi2.Init.FirstBit = SPI_FIRSTBIT_MSB;
  hspi2.Init.TIMode = SPI_TIMODE_DISABLE;
  hspi2.Init.CRCCalculation = SPI_CRCCALCULATION_DISABLE;
  hspi2.Init.CRCPolynomial = 7;
  hspi2.Init.CRCLength = SPI_CRC_LENGTH_DATASIZE;
  hspi2.Init.NSSPMode = SPI_NSS_PULSE_ENABLE;
  if (HAL_SPI_Init(&hspi2) != HAL_OK)
  {
    Error_Handler();
  }

}

static void MX_SPI3_Init(void)
{

  /* SPI3 parameter configuration*/
  hspi3.Instance = SPI3;
  hspi3.Init.Mode = SPI_MODE_MASTER;
  hspi3.Init.Direction = SPI_DIRECTION_2LINES;
  hspi3.Init.DataSize = SPI_DATASIZE_8BIT;
  hspi3.Init.CLKPolarity = SPI_POLARITY_LOW;
  hspi3.Init.CLKPhase = SPI_PHASE_1EDGE;
  hspi3.Init.NSS = SPI_NSS_SOFT;
  hspi3.Init.BaudRatePrescaler = SPI_BAUDRATEPRESCALER_64;
  hspi3.Init.FirstBit = SPI_FIRSTBIT_MSB;
  hspi3.Init.TIMode = SPI_TIMODE_DISABLE;
  hspi3.Init.CRCCalculation = SPI_CRCCALCULATION_DISABLE;
  hspi3.Init.CRCPolynomial = 7;
  hspi3.Init.CRCLength = SPI_CRC_LENGTH_DATASIZE;
  hspi3.Init.NSSPMode = SPI_NSS_PULSE_ENABLE;
  if (HAL_SPI_Init(&hspi3) != HAL_OK)
  {
    Error_Handler();
  }

}

static void MX_TIM5_Init(void)
{

  TIM_MasterConfigTypeDef sMasterConfig = {0};
  TIM_OC_InitTypeDef sConfigOC = {0};

  htim5.Instance = TIM5;
  htim5.Init.Prescaler = 0;
  htim5.Init.CounterMode = TIM_COUNTERMODE_UP;
  htim5.Init.Period = 4.294967295E9;
  htim5.Init.ClockDivision = TIM_CLOCKDIVISION_DIV1;
  htim5.Init.AutoReloadPreload = TIM_AUTORELOAD_PRELOAD_DISABLE;
  if (HAL_TIM_OC_Init(&htim5) != HAL_OK)
  {
    Error_Handler();
  }
  sMasterConfig.MasterOutputTrigger = TIM_TRGO_RESET;
  sMasterConfig.MasterSlaveMode = TIM_MASTERSLAVEMODE_DISABLE;
  if (HAL_TIMEx_MasterConfigSynchronization(&htim5, &sMasterConfig) != HAL_OK)
  {
    Error_Handler();
  }
  sConfigOC.OCMode = TIM_OCMODE_TIMING;
  sConfigOC.Pulse = 0;
  sConfigOC.OCPolarity = TIM_OCPOLARITY_HIGH;
  sConfigOC.OCFastMode = TIM_OCFAST_DISABLE;
  if (HAL_TIM_OC_ConfigChannel(&htim5, &sConfigOC, TIM_CHANNEL_1) != HAL_OK)
  {
    Error_Handler();
  }
  if (HAL_TIM_OC_ConfigChannel(&htim5, &sConfigOC, TIM_CHANNEL_2) != HAL_OK)
  {
    Error_Handler();
  }
  if (HAL_TIM_OC_ConfigChannel(&htim5, &sConfigOC, TIM_CHANNEL_3) != HAL_OK)
  {
    Error_Handler();
  }
  HAL_TIM_MspPostInit(&htim5);

}

static void MX_USART1_UART_Init(void)
{

  huart1.Instance = USART1;
  huart1.Init.BaudRate = 115200;
  huart1.Init.WordLength = UART_WORDLENGTH_7B;
  huart1.Init.StopBits = UART_STOPBITS_1;
  huart1.Init.Parity = UART_PARITY_NONE;
  huart1.Init.Mode = UART_MODE_TX_RX;
  huart1.Init.HwFlowCtl = UART_HWCONTROL_NONE;
  huart1.Init.OverSampling = UART_OVERSAMPLING_16;
  huart1.Init.OneBitSampling = UART_ONE_BIT_SAMPLE_DISABLE;
  huart1.Init.ClockPrescaler = UART_PRESCALER_DIV1;
  huart1.AdvancedInit.AdvFeatureInit = UART_ADVFEATURE_NO_INIT;
  if (HAL_UART_Init(&huart1) != HAL_OK)
  {
    Error_Handler();
  }
  if (HAL_UARTEx_SetTxFifoThreshold(&huart1, UART_TXFIFO_THRESHOLD_1_8) != HAL_OK)
  {
    Error_Handler();
  }
  if (HAL_UARTEx_SetRxFifoThreshold(&huart1, UART_RXFIFO_THRESHOLD_1_8) != HAL_OK)
  {
    Error_Handler();
  }
  if (HAL_UARTEx_DisableFifoMode(&huart1) != HAL_OK)
  {
    Error_Handler();
  }

}

static void MX_USB_PCD_Init(void)
{

  hpcd_USB_FS.Instance = USB;
  hpcd_USB_FS.Init.dev_endpoints = 8;
  hpcd_USB_FS.Init.speed = PCD_SPEED_FULL;
  hpcd_USB_FS.Init.phy_itface = PCD_PHY_EMBEDDED;
  hpcd_USB_FS.Init.Sof_enable = DISABLE;
  hpcd_USB_FS.Init.low_power_enable = DISABLE;
  hpcd_USB_FS.Init.lpm_enable = DISABLE;
  hpcd_USB_FS.Init.battery_charging_enable = DISABLE;
  if (HAL_PCD_Init(&hpcd_USB_FS) != HAL_OK)
  {
    Error_Handler();
  }

}

static void MX_GPIO_Init(void)
{
  GPIO_InitTypeDef GPIO_InitStruct = {0};

  /* GPIO Ports Clock Enable */
  __HAL_RCC_GPIOE_CLK_ENABLE();
  __HAL_RCC_GPIOC_CLK_ENABLE();
  __HAL_RCC_GPIOF_CLK_ENABLE();
  __HAL_RCC_GPIOA_CLK_ENABLE();
  __HAL_RCC_GPIOB_CLK_ENABLE();
  __HAL_RCC_GPIOD_CLK_ENABLE();
  __HAL_RCC_GPIOG_CLK_ENABLE();

  /*Configure GPIO pin Output Level */
  HAL_GPIO_WritePin(GPIOE, GPIO_PIN_4, GPIO_PIN_RESET);

  /*Configure GPIO pin Output Level */
  HAL_GPIO_WritePin(GPIOF, CN4_Dissipative_Brake_Pin|LED3_Pin, GPIO_PIN_RESET);

  /*Configure GPIO pin Output Level */
  HAL_GPIO_WritePin(NK5110_LIGHT_DY_GPIO_Port, NK5110_LIGHT_DY_Pin, GPIO_PIN_RESET);

  /*Configure GPIO pin Output Level */
  HAL_GPIO_WritePin(GPIOC, NK5110_CS_DY_Pin|NK5110_DC_DY_Pin|NK5110_RESET_DY_Pin|LCD_CS_Pin, GPIO_PIN_RESET);

  /*Configure GPIO pin Output Level */
  HAL_GPIO_WritePin(LED1_GPIO_Port, LED1_Pin, GPIO_PIN_RESET);

  /*Configure GPIO pin : PE4 */
  GPIO_InitStruct.Pin = GPIO_PIN_4;
  GPIO_InitStruct.Mode = GPIO_MODE_OUTPUT_PP;
  GPIO_InitStruct.Pull = GPIO_NOPULL;
  GPIO_InitStruct.Speed = GPIO_SPEED_FREQ_LOW;
  HAL_GPIO_Init(GPIOE, &GPIO_InitStruct);

  /*Configure GPIO pin : TAMPER_KEY_Pin */
  GPIO_InitStruct.Pin = TAMPER_KEY_Pin;
  GPIO_InitStruct.Mode = GPIO_MODE_INPUT;
  GPIO_InitStruct.Pull = GPIO_NOPULL;
  HAL_GPIO_Init(TAMPER_KEY_GPIO_Port, &GPIO_InitStruct);

  /*Configure GPIO pins : CN4_Dissipative_Brake_Pin LED3_Pin */
  GPIO_InitStruct.Pin = CN4_Dissipative_Brake_Pin|LED3_Pin;
  GPIO_InitStruct.Mode = GPIO_MODE_OUTPUT_PP;
  GPIO_InitStruct.Pull = GPIO_NOPULL;
  GPIO_InitStruct.Speed = GPIO_SPEED_FREQ_LOW;
  HAL_GPIO_Init(GPIOF, &GPIO_InitStruct);

  /*Configure GPIO pins : ADC45_IN12_Pin ADC45_IN13_Pin ADC345_IN7_Pin ADC345_IN9_Pin
                           ADC345_IN10_Pin */
  GPIO_InitStruct.Pin = ADC45_IN12_Pin|ADC45_IN13_Pin|ADC345_IN7_Pin|ADC345_IN9_Pin
                          |ADC345_IN10_Pin;
  GPIO_InitStruct.Mode = GPIO_MODE_ANALOG;
  GPIO_InitStruct.Pull = GPIO_NOPULL;
  HAL_GPIO_Init(GPIOD, &GPIO_InitStruct);

  /*Configure GPIO pin : NK5110_LIGHT_DY_Pin */
  GPIO_InitStruct.Pin = NK5110_LIGHT_DY_Pin;
  GPIO_InitStruct.Mode = GPIO_MODE_OUTPUT_PP;
  GPIO_InitStruct.Pull = GPIO_NOPULL;
  GPIO_InitStruct.Speed = GPIO_SPEED_FREQ_LOW;
  HAL_GPIO_Init(NK5110_LIGHT_DY_GPIO_Port, &GPIO_InitStruct);

  /*Configure GPIO pins : NK5110_CS_DY_Pin NK5110_DC_DY_Pin NK5110_RESET_DY_Pin LCD_CS_Pin */
  GPIO_InitStruct.Pin = NK5110_CS_DY_Pin|NK5110_DC_DY_Pin|NK5110_RESET_DY_Pin|LCD_CS_Pin;
  GPIO_InitStruct.Mode = GPIO_MODE_OUTPUT_PP;
  GPIO_InitStruct.Pull = GPIO_NOPULL;
  GPIO_InitStruct.Speed = GPIO_SPEED_FREQ_LOW;
  HAL_GPIO_Init(GPIOC, &GPIO_InitStruct);

  /*Configure GPIO pin : LED1_Pin */
  GPIO_InitStruct.Pin = LED1_Pin;
  GPIO_InitStruct.Mode = GPIO_MODE_OUTPUT_PP;
  GPIO_InitStruct.Pull = GPIO_NOPULL;
  GPIO_InitStruct.Speed = GPIO_SPEED_FREQ_LOW;
  HAL_GPIO_Init(LED1_GPIO_Port, &GPIO_InitStruct);

}

void Error_Handler(void)
{
  __disable_irq();
  while (1)
  {
  }
}
